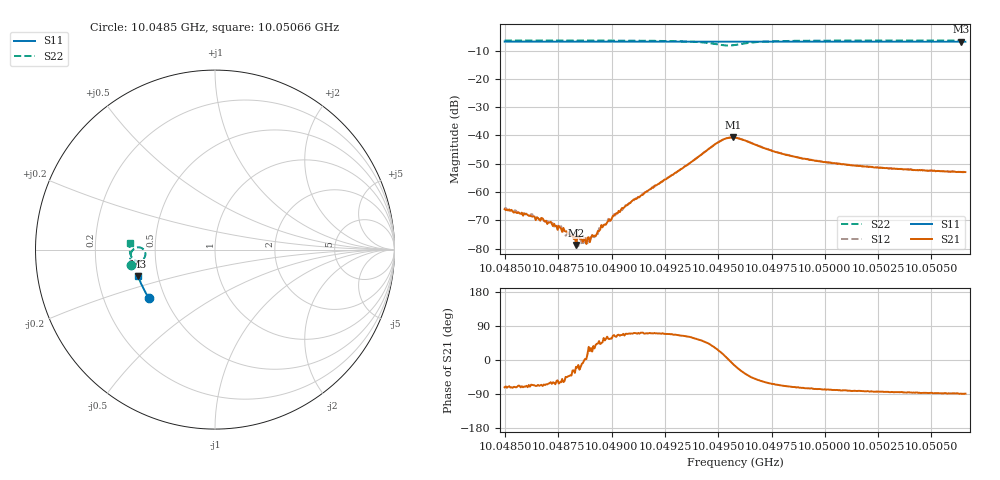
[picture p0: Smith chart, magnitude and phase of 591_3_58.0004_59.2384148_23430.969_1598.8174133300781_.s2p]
#  HZ  S  RI  R  50.00
! Rohde & Schwarz Vector Network Analyzer
! Rohde-Schwarz,ZNB20-2Port,1311601062101988,3.16
! Created: UTC 3/21/2024, 1:16:50 AM
! freq[Hz]  re:S11  im:S11  re:S21  im:S21  re:S12  im:S12  re:S22  im:S22
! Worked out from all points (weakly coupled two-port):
!   401 points, 10.0485 GHz to 10.05066 GHz, reference 50 ohm
!   highest |S21| = -40.70 dB at 10.04957 GHz (marker M1); lowest = -78.7 dB at 10.04883 GHz (marker M2)
!   lowest |S11| = -6.9 dB at 10.05064 GHz (marker M3), VSWR 2.65, Z = 19.3 - j7.14 ohm
!   |S11| at or under -10 dB: nowhere
!   |S22| runs from -8.2 to -6.4 dB; largest |S21 - S12| = 0.00068
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1.0048497e10  -0.3659 -0.2724  0.000155 -0.000475  0.000176 -0.000477  -0.4693 -0.0857
1.0048681e10  -0.3726 -0.2621  0.000136 -0.000287  0.000169 -0.000258  -0.471 -0.0721
1.0048751e10  -0.3751 -0.2583  0.000118 -0.000224  0.000144 -0.000202  -0.4714 -0.0666
1.0048784e10  -0.3764 -0.2565  0.000143 -0.00014  0.000114 -0.000126  -0.4716 -0.0639
1.0048822e10  -0.3778 -0.2544  0.000132 -6.84e-05  0.000145 -6.1e-05  -0.4718 -0.061
1.0048832e10  -0.3781 -0.2538  0.000111 -3.6e-05  0.000151 -7.75e-05  -0.4718 -0.0601
1.0048849e10  -0.3787 -0.2528  0.000141 -6.73e-05  0.000132 -3.7e-05  -0.4719 -0.0588
1.0048859e10  -0.379 -0.2523  0.000145 -2.66e-05  0.000106 -4.33e-05  -0.4719 -0.0579
1.0048886e10  -0.3798 -0.2508  0.00015 4.42e-05  0.000122 2.63e-05  -0.472 -0.0555
1.0048908e10  -0.3807 -0.2495  0.000161 6.6e-05  0.00014 8.2e-05  -0.472 -0.0538
1.0048924e10  -0.3812 -0.2485  0.000127 0.000106  0.000129 0.000127  -0.472 -0.0524
1.0048951e10  -0.3822 -0.247  0.000186 0.000184  0.000121 0.000221  -0.472 -0.0499
1.004907e10  -0.3863 -0.2402  0.000206 0.000544  0.000173 0.000563  -0.4717 -0.0389
1.0049222e10  -0.3912 -0.2317  0.000475 0.00132  0.000415 0.00135  -0.4685 -0.0217
1.0049497e10  -0.399 -0.2152  0.00667 0.00342  0.00644 0.00384  -0.4065 0.00754
1.0049568e10  -0.4006 -0.2117  0.00909 -0.00157  0.00918 -0.000899  -0.3901 -0.039
1.0049579e10  -0.401 -0.2111  0.0088 -0.00243  0.009 -0.00182  -0.394 -0.0463
1.0049779e10  -0.4074 -0.1997  0.00207 -0.00455  0.00235 -0.00447  -0.4625 -0.0449
1.0049941e10  -0.4119 -0.1899  0.000946 -0.00353  0.00113 -0.00353  -0.472 -0.023
1.0050303e10  -0.4206 -0.1678  0.000236 -0.0026  0.000389 -0.0026  -0.4755 0.0106
1.0050638e10  -0.4278 -0.147  5.26e-05 -0.00227  0.000164 -0.00225  -0.4745 0.0362
1.005066e10  -0.4283 -0.1457  4.46e-05 -0.00226  0.000159 -0.00225  -0.4745 0.0379
